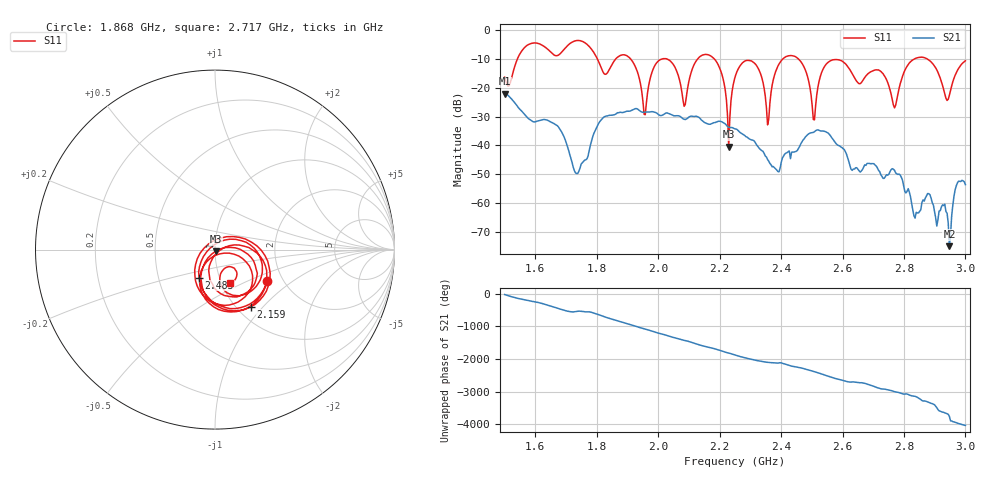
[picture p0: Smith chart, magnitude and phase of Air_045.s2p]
# HZ S RI R 50
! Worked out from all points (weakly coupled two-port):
!   404 points, 1.5 GHz to 3 GHz, reference 50 ohm
!   highest |S21| = -22.08 dB at 1.5 GHz (marker M1); lowest = -74.9 dB at 2.948 GHz (marker M2)
!   lowest |S11| = -40.4 dB at 2.23 GHz (marker M3), VSWR 1.02, Z = 50.4 - j0.86 ohm
!   |S11| at or under -10 dB: 2.182 GHz to 2.406 GHz (223.7 MHz wide, 9.75 % of centre); 2.456 GHz to 2.835 GHz (378.4 MHz wide, 14.3 % of centre); 2.875 GHz to end of sweep (the widest 3 of 7)
!   S12 and S22 are empty: the file has one direction only
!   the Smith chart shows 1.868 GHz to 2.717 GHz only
!   S11 on the Smith chart (normalised r, x): 1.868 GHz: 1.67, -0.65; 2.159 GHz: 1.16, -0.86; 2.483 GHz: 0.80, -0.26; 2.717 GHz: 1.10, -0.42
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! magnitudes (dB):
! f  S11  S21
! 1.5 GHz  -16.3  -22.1
! 1.578 GHz  -5.0  -30.7
! 1.753 GHz  -3.9  -46.0
! 1.868 GHz  -9.4  -28.6
! 1.958 GHz  -29.3  -28.4
! 2.002 GHz  -10.5  -29.4
! 2.084 GHz  -26.4  -30.9
! 2.159 GHz  -8.5  -32.4
! 2.203 GHz  -14.1  -31.7
! 2.23 GHz  -40.4  -33.7
! 2.252 GHz  -15.7  -34.3
! 2.315 GHz  -11.7  -38.8
! 2.356 GHz  -32.9  -44.9
! 2.386 GHz  -13.4  -48.5
! 2.483 GHz  -14.9  -36.7
! 2.501 GHz  -26.2  -35.6
! 2.561 GHz  -10.6  -36.7
! 2.717 GHz  -13.8  -48.6
! 2.751 GHz  -19.3  -50.0
! 2.862 GHz  -9.5  -58.9
! 2.948 GHz  -22.6  -74.9
! 3 GHz  -10.7  -53.6
